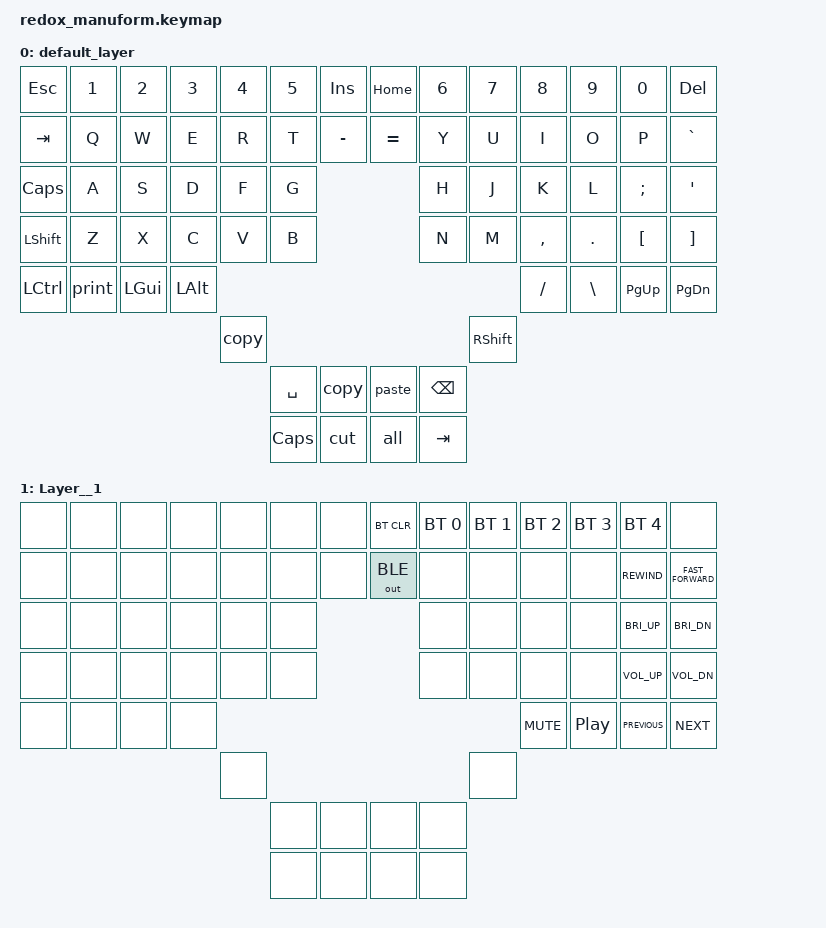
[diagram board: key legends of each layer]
/*
 * Copyright (c) 2021 The ZMK Contributors
 *
 * SPDX-License-Identifier: MIT
 */

#include <behaviors.dtsi>
#include <dt-bindings/zmk/keys.h>
#include <dt-bindings/zmk/bt.h>
#include <dt-bindings/zmk/outputs.h>

/ {
    macros {
        copy: copy {
            label = "fuzhi";
            compatible = "zmk,behavior-macro";
            #binding-cells = <0>;
            bindings =
                <&macro_press>,
                <&kp LCTRL>,
                <&macro_tap>,
                <&kp C>,
                <&macro_release>,
                <&kp LCTRL>;
        };
        cut: cut {
            compatible = "zmk,behavior-macro";
            label = "jianqie";
            #binding-cells = <0>;
            bindings =
                <&macro_press>,
                <&kp LCTRL>,
                <&macro_tap>,
                <&kp X>,
                <&macro_release>,
                <&kp LCTRL>;
        };
        paste: paste {
            compatible = "zmk,behavior-macro";
            label = "zhantie";
            #binding-cells = <0>;
            bindings =
                <&macro_press>,
                <&kp LCTRL>,
                <&macro_tap>,
                <&kp V>,
                <&macro_release>,
                <&kp LCTRL>;
        };
        all: all {
            compatible = "zmk,behavior-macro";
            label = "quanxuan";
            #binding-cells = <0>;
            bindings =
                <&macro_press>,
                <&kp LCTRL>,
                <&macro_tap>,
                <&kp A>,
                <&macro_release>,
                <&kp LCTRL>;
        };
        home: home {
            compatible = "zmk,behavior-macro";
            label = "zhuomian";
            #binding-cells = <0>;
            bindings =
                <&macro_press>,
                <&kp LEFT_GUI>,
                <&macro_tap>,
                <&kp D>,
                <&macro_release>,
                <&kp LEFT_GUI>;
        };
        print: print {
            compatible = "zmk,behavior-macro";
            label = "jietu";
            #binding-cells = <0>;
            bindings =
                <&macro_press>,
                <&kp LEFT_GUI &kp LSHFT>,
                <&macro_tap>,
                <&kp S>,
                <&macro_release>,
                <&kp LEFT_GUI &kp LSHFT>;
        };
    };

    keymap {
        compatible = "zmk,keymap";

        default_layer {
            // --------------------------------------------------------------------------------------------------------------------------------
            // | ESC   |  1  |  2  |   3   |  4  |  5  |   (   |           ---           |  )    |  6  |  7  |  8    |  9   | 0  |    BKSP   |
            // | TAB   |  Q  |  W  |   E   |  R  |  T  |   [   |           ---           |  ]    |  Y  |  U  |  I    |  O   | P  |     -     |
            // | CTRL  |  A  |  S  |   D   |  F  |  G  |                   ---                   |  H  |  J  |  K    |  L   | ;  |     '     |
            // | SHIFT |  Z  |  X  |   C   |  V  |  B  |                   ---                   |  N  |  M  |  ,    |  .   | /  | SHFT(RET) |
            // | CRTL  | ALT | GUI | LOWER |                               ---                               | LEFT  | DOWN | UP |   RIGHT   |
            //                             |    GUI    |                   ---                   |   RAISE   |
            //                             |   PG_up   | SPACE |           ---           |  HOME |   SPACE   |   
            //                             |   PG_DOWN | LOWER |           ---           |  DEL  |   END     |

            bindings = <
     &kp ESC  &kp N1    &kp N2    &kp N3  &kp N4     &kp N5    &kp INS   &kp HOME    &kp N6     &kp N7     &kp N8    &kp N9     &kp N0    &kp DEL
     &kp TAB   &kp Q     &kp W     &kp E   &kp R      &kp T  &kp MINUS  &kp EQUAL     &kp Y      &kp U      &kp I     &kp O      &kp P  &kp GRAVE
&kp CAPSLOCK   &kp A     &kp S     &kp D   &kp F      &kp G                           &kp H      &kp J      &kp K     &kp L   &kp SEMI    &kp SQT
   &kp LSHFT   &kp Z     &kp X     &kp C   &kp V      &kp B                           &kp N      &kp M  &kp COMMA   &kp DOT   &kp LBKT   &kp RBKT
   &kp LCTRL  &print  &kp LGUI  &kp LALT                                                                 &kp FSLH  &kp BSLH  &kp PG_UP  &kp PG_DN
                                           &copy                                             &kp RSHFT
                                                  &kp SPACE      &copy     &paste  &kp BSPC
                                                   &kp CAPS       &cut       &all   &kp TAB
            >;
        };

        Layer__1 {
            bindings = <
&none  &none  &none  &none  &none  &none  &none    &bt BT_CLR  &bt BT_SEL 0  &bt BT_SEL 1  &bt BT_SEL 2      &bt BT_SEL 3    &bt BT_SEL 4               &none
&none  &none  &none  &none  &none  &none  &none  &out OUT_BLE         &none         &none         &none             &none    &kp C_REWIND  &kp C_FAST_FORWARD
&none  &none  &none  &none  &none  &none                              &none         &none         &none             &none    &kp C_BRI_UP        &kp C_BRI_DN
&none  &none  &none  &none  &none  &none                              &none         &none         &none             &none    &kp C_VOL_UP        &kp C_VOL_DN
&none  &none  &none  &none                                                                   &kp C_MUTE  &kp C_PLAY_PAUSE  &kp C_PREVIOUS          &kp C_NEXT
                            &none                                                   &none
                                   &none  &none         &none         &none
                                   &none  &none         &none         &none
            >;
        };
    };
};
